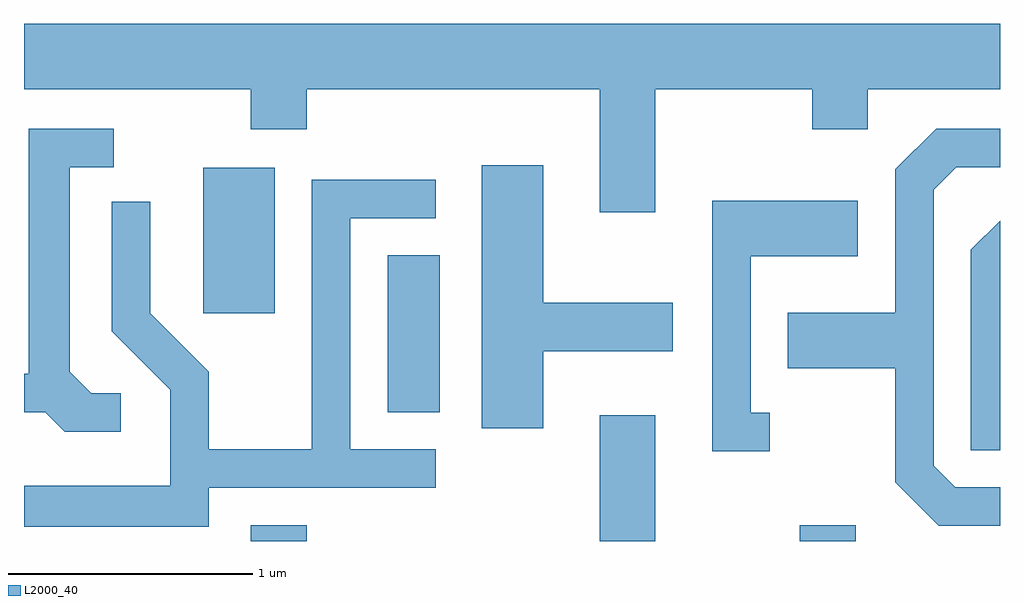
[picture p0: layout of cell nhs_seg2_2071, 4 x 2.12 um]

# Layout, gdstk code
import gdstk
lib = gdstk.Library(unit=1e-6, precision=1e-09)
def R(c, l, rs):  # rectangles x0, y0, x1, y1
    for r in rs: c.add(gdstk.rectangle(r[:2], r[2:], *l))
def P(c, l, *ps):  # polygons
    for p in ps: c.add(gdstk.Polygon(p, *l))
L2000_40 = (2000, 40)

nhs_seg2_2071 = lib.new_cell('nhs_seg2_2071')
R(nhs_seg2_2071, L2000_40, [(246.541,1039.802,246.769,1039.869), (247.971,1039.802,248.199,1040.319), (248.791,1039.802,249.019,1039.869), (247.101,1040.331,247.314,1040.974), (246.346,1040.736,246.639,1041.334)])
P(nhs_seg2_2071, L2000_40, [(248.199,1041.656),(248.841,1041.656),(248.841,1041.491),(249.069,1041.491),(249.069,1041.656),(249.611,1041.656),(249.611,1041.924),(245.611,1041.924),(245.611,1041.656),(246.541,1041.656),(246.541,1041.491),(246.769,1041.491),(246.769,1041.656),(247.971,1041.656),(247.971,1041.151),(248.199,1041.151)],
  [(249.611,1040.024),(249.427,1040.024),(249.339,1040.112),(249.339,1041.244),(249.432,1041.336),(249.611,1041.336),(249.611,1041.494),(249.349,1041.494),(249.181,1041.327),(249.181,1040.739),(248.741,1040.739),(248.741,1040.511),(249.181,1040.511),(249.181,1040.044),(249.359,1039.866),(249.611,1039.866)],
  [(246.008,1040.409),(245.887,1040.409),(245.799,1040.497),(245.799,1041.336),(245.978,1041.336),(245.978,1041.494),(245.631,1041.494),(245.631,1040.489),(245.611,1040.489),(245.611,1040.331),(245.699,1040.331),(245.779,1040.251),(246.008,1040.251)],
  [(247.739,1040.581),(248.269,1040.581),(248.269,1040.779),(247.739,1040.779),(247.739,1041.344),(247.486,1041.344),(247.486,1040.266),(247.739,1040.266)],
  [(246.369,1040.021),(247.298,1040.021),(247.298,1040.179),(246.949,1040.179),(246.949,1041.126),(247.298,1041.126),(247.298,1041.284),(246.791,1041.284),(246.791,1040.179),(246.369,1040.179),(246.369,1040.497),(246.129,1040.737),(246.129,1041.193),(245.971,1041.193),(245.971,1040.664),(246.211,1040.424),(246.211,1040.029),(245.611,1040.029),(245.611,1039.861),(246.369,1039.861)],
  [(248.668,1040.329),(248.589,1040.329),(248.589,1040.971),(249.029,1040.971),(249.029,1041.199),(248.431,1041.199),(248.431,1040.171),(248.668,1040.171)],
  [(249.611,1041.116),(249.491,1040.997),(249.491,1040.176),(249.611,1040.176)])

lib.write_gds('nhs_seg2_2071.gds')
